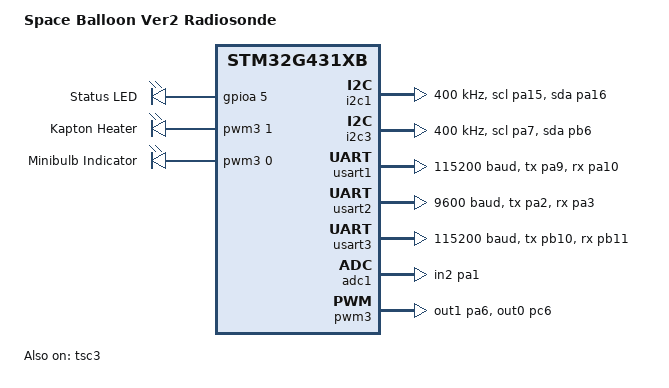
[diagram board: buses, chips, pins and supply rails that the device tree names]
/*
 * Copyright (c) 2026 Hyeonsu Park
 * SPDX-License-Identifier: Apache-2.0
 */

/dts-v1/;
#include <st/g4/stm32g431Xb.dtsi>
#include <st/g4/stm32g431c(6-8-b)tx-pinctrl.dtsi>

/ {
	model = "Space Balloon Ver2 Radiosonde";
	compatible = "space-balloon-ver2";

	chosen {
		zephyr,console = &usart3;
		zephyr,shell-uart = &usart3;
		zephyr,sram = &sram0;
		zephyr,flash = &flash0;
	};

	leds {
		compatible = "gpio-leds";
		green_led: led_0 {
			gpios = <&gpioa 5 GPIO_ACTIVE_HIGH>;
			label = "Status LED";
		};
	};

	pwmleds {
		compatible = "pwm-leds";
		kapton_heater: kapton_heater {
			pwms = <&pwm3 1 PWM_MSEC(20) PWM_POLARITY_NORMAL>;
			label = "Kapton Heater";
		};
		minibulb: minibulb {
			pwms = <&pwm3 0 PWM_MSEC(20) PWM_POLARITY_NORMAL>;
			label = "Minibulb Indicator";
		};
	};

	aliases {
		led0 = &green_led;
		pwm-led0 = &kapton_heater;
		pwm-led1 = &minibulb;
		i2c1 = &i2c1;
		i2c3 = &i2c3;
		uart1 = &usart1;
		uart2 = &usart2;
		uart3 = &usart3;
		adc1 = &adc1;
	};

	/* External sensors */
	sensors {
		compatible = "simple-bus";
		
		/* IMU - LSM6DSV16X */
		imu: imu@6b {
			compatible = "st,lsm6dsv16x";
			reg = <0x6b>;
		};
		
		/* Magnetometer - MLX90393 */
		mag: mag@0c {
			compatible = "melexis,mlx90393";
			reg = <0x0c>;
		};
		
		/* Radiation - GDK101 */
		rad: rad@18 {
			compatible = "fuka,gdk101";
			reg = <0x18>;
		};
		
		/* Barometer - MS5611 */
		baro: baro@77 {
			compatible = "te,ms5611";
			reg = <0x77>;
		};
		
		/* Humidity - SHT31 */
		humidity: humidity@44 {
			compatible = "sensirion,sht3xd";
			reg = <0x44>;
		};
		
		/* CO2 - CM1107N */
		co2: co2@31 {
			compatible = "cubic,cm1107n";
			reg = <0x31>;
		};
		
		/* Thermocouple - MCP9600 */
		thermo: thermo@60 {
			compatible = "microchip,mcp9600";
			reg = <0x60>;
		};
		
		/* Ozone - SEN0321 */
		ozone: ozone@70 {
			compatible = "dfrobot,sen0321";
			reg = <0x70>;
		};
	};
};

/* I2C1 - Downside Board (IMU, Mag, Radiation) */
&i2c1 {
	pinctrl-0 = <&i2c1_scl_pa15 &i2c1_sda_pa16>;
	pinctrl-names = "default";
	status = "okay";
	clock-frequency = <I2C_BITRATE_FAST>;
};

/* I2C3 - Upside Board (Baro, Humidity, CO2, Thermocouple, Ozone) */
&i2c3 {
	pinctrl-0 = <&i2c3_scl_pa7 &i2c3_sda_pb6>;
	pinctrl-names = "default";
	status = "okay";
	clock-frequency = <I2C_BITRATE_FAST>;
};

/* UART1 - GPS (XA1110) */
&usart1 {
	pinctrl-0 = <&usart1_tx_pa9 &usart1_rx_pa10>;
	pinctrl-names = "default";
	current-speed = <115200>;
	status = "okay";
};

/* UART2 - Dust Sensor (PMS3003) */
&usart2 {
	pinctrl-0 = <&usart2_tx_pa2 &usart2_rx_pa3>;
	pinctrl-names = "default";
	current-speed = <9600>;
	status = "okay";
};

/* UART3 - Telemetry Output */
&usart3 {
	pinctrl-0 = <&usart3_tx_pb10 &usart3_rx_pb11>;
	pinctrl-names = "default";
	current-speed = <115200>;
	status = "okay";
};

/* ADC1 - Battery Voltage */
&adc1 {
	pinctrl-0 = <&adc1_in2_pa1>;
	pinctrl-names = "default";
	status = "okay";
};

/* PWM3 - Heaters */
&tsc3 {
	status = "okay";
	pwm3: pwm {
		status = "okay";
		pinctrl-0 = <&tsc3_out1_pa6 &tsc3_out0_pc6>;
		pinctrl-names = "default";
	};
};

/* GPIO resets for sensors */
&gpioa {
	status = "okay";
};

&gpiob {
	status = "okay";
};

&gpioc {
	status = "okay";
};
